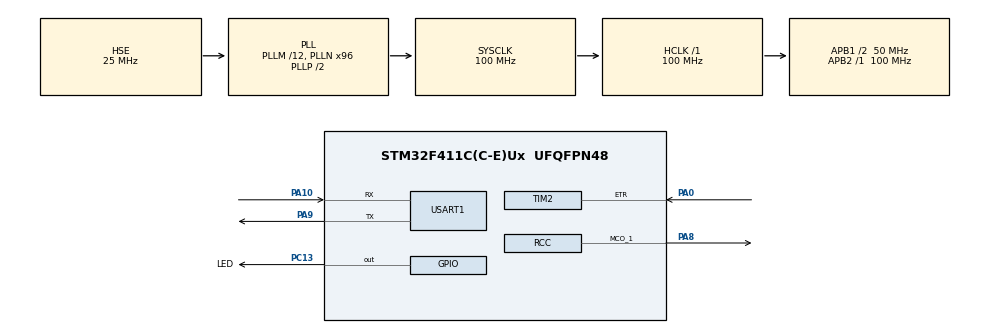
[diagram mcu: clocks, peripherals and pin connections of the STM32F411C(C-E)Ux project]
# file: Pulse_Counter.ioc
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Dma.Request0=USART1_TX
Dma.USART1_TX.0.Direction=DMA_MEMORY_TO_PERIPH
Dma.USART1_TX.0.FIFOMode=DMA_FIFOMODE_DISABLE
Dma.USART1_TX.0.Instance=DMA2_Stream7
Dma.USART1_TX.0.MemDataAlignment=DMA_MDATAALIGN_BYTE
Dma.USART1_TX.0.MemInc=DMA_MINC_ENABLE
Dma.USART1_TX.0.Mode=DMA_NORMAL
Dma.USART1_TX.0.PeriphDataAlignment=DMA_PDATAALIGN_BYTE
Dma.USART1_TX.0.PeriphInc=DMA_PINC_DISABLE
Dma.USART1_TX.0.Priority=DMA_PRIORITY_LOW
FREERTOS.Tasks01=defaultTask,24,128,StartDefaultTask,Default,NULL,Dynamic,NULL,NULL;CommonTask,25,128,entryCommonTask,Default,NULL,Dynamic,NULL,NULL
FREERTOS.configUSE_NEWLIB_REENTRANT=1
Mcu.Family=STM32F4
Mcu.Name=STM32F411C(C-E)Ux
Mcu.Package=UFQFPN48
NVIC.DMA2_Stream7_IRQn=true\:5\:0\:false\:false\:true\:true\:false\:true\:true
NVIC.PriorityGroup=NVIC_PRIORITYGROUP_4
NVIC.TIM1_UP_TIM10_IRQn=true\:15\:0\:true\:false\:true\:false\:false\:true\:true
NVIC.TIM2_IRQn=true\:5\:0\:false\:false\:true\:true\:true\:true\:true
NVIC.TimeBase=TIM1_UP_TIM10_IRQn
NVIC.TimeBaseIP=TIM10
NVIC.USART1_IRQn=true\:7\:0\:true\:false\:true\:true\:true\:true\:true
PA0-WKUP.Signal=S_TIM2_CH1_ETR
PA10.Mode=Asynchronous
PA10.Signal=USART1_RX
PA13.Mode=Serial_Wire
PA13.Signal=SYS_JTMS-SWDIO
PA14.Mode=Serial_Wire
PA14.Signal=SYS_JTCK-SWCLK
PA8.Mode=Clock-out-1
PA8.Signal=RCC_MCO_1
PA9.Mode=Asynchronous
PA9.Signal=USART1_TX
PC13-ANTI_TAMP.GPIO_Label=LED
PC13-ANTI_TAMP.GPIO_PuPd=GPIO_PULLDOWN
PC13-ANTI_TAMP.Signal=GPIO_Output
PH0\ -\ OSC_IN.Mode=HSE-External-Oscillator
PH0\ -\ OSC_IN.Signal=RCC_OSC_IN
PH1\ -\ OSC_OUT.Mode=HSE-External-Oscillator
PH1\ -\ OSC_OUT.Signal=RCC_OSC_OUT
ProjectManager.HeapSize=0x200
ProjectManager.StackSize=0x400
ProjectManager.TargetToolchain=STM32CubeIDE
RCC.48MHZClocksFreq_Value=50000000
RCC.AHBFreq_Value=100000000
RCC.APB1CLKDivider=RCC_HCLK_DIV2
RCC.APB1Freq_Value=50000000
RCC.APB1TimFreq_Value=100000000
RCC.APB2Freq_Value=100000000
RCC.APB2TimFreq_Value=100000000
RCC.CortexFreq_Value=100000000
RCC.HCLKFreq_Value=100000000
RCC.HSE_VALUE=25000000
RCC.HSI_VALUE=16000000
RCC.LSE_VALUE=32768
RCC.PLLM=12
RCC.PLLN=96
RCC.PLLSourceVirtual=RCC_PLLSOURCE_HSE
RCC.SYSCLKFreq_VALUE=100000000
RCC.SYSCLKSource=RCC_SYSCLKSOURCE_PLLCLK
RCC.VCOOutputFreq_Value=200000000
SH.S_TIM2_CH1_ETR.0=TIM2_ETR,ClockSourceETR_Mode2
TIM2.Period=4294967295
TIM2.TIM_MasterOutputTrigger=TIM_TRGO_RESET
USART1.VirtualMode=VM_ASYNC
VP_FREERTOS_VS_CMSIS_V2.Mode=CMSIS_V2
VP_SYS_VS_tim10.Mode=TIM10
board=custom

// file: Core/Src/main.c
/* USER CODE BEGIN Header */
/**
  ******************************************************************************
  * @file           : main.c
  * @brief          : Main program body
  ******************************************************************************
  * @attention
  *
  * Copyright (c) 2026 STMicroelectronics.
  * All rights reserved.
  *
  * This software is licensed under terms that can be found in the LICENSE file
  * in the root directory of this software component.
  * If no LICENSE file comes with this software, it is provided AS-IS.
  *
  ******************************************************************************
  */
/* USER CODE END Header */
#include "main.h"
#include "cmsis_os.h"
#include "dma.h"
#include "tim.h"
#include "usart.h"
#include "gpio.h"

void SystemClock_Config(void);
void MX_FREERTOS_Init(void);

int main(void)
{

  /* MCU Configuration--------------------------------------------------------*/

  /* Reset of all peripherals, Initializes the Flash interface and the Systick. */
  HAL_Init();

  /* Configure the system clock */
  SystemClock_Config();

  /* Initialize all configured peripherals */
  MX_GPIO_Init();
  MX_DMA_Init();
  MX_USART1_UART_Init();
  MX_TIM2_Init();
  /* USER CODE BEGIN 2 */

  HAL_TIM_Base_Start_IT(&htim2);

  /* USER CODE END 2 */

  /* Init scheduler */
  osKernelInitialize();  /* Call init function for freertos objects (in cmsis_os2.c) */
  MX_FREERTOS_Init();

  /* Start scheduler */
  osKernelStart();

  /* We should never get here as control is now taken by the scheduler */

  /* Infinite loop */
  while (1)
  {

  }
}

void SystemClock_Config(void)
{
  RCC_OscInitTypeDef RCC_OscInitStruct = {0};
  RCC_ClkInitTypeDef RCC_ClkInitStruct = {0};

  /** Configure the main internal regulator output voltage
  */
  __HAL_RCC_PWR_CLK_ENABLE();
  __HAL_PWR_VOLTAGESCALING_CONFIG(PWR_REGULATOR_VOLTAGE_SCALE1);

  /** Initializes the RCC Oscillators according to the specified parameters
  * in the RCC_OscInitTypeDef structure.
  */
  RCC_OscInitStruct.OscillatorType = RCC_OSCILLATORTYPE_HSI|RCC_OSCILLATORTYPE_HSE;
  RCC_OscInitStruct.HSEState = RCC_HSE_ON;
  RCC_OscInitStruct.HSIState = RCC_HSI_ON;
  RCC_OscInitStruct.HSICalibrationValue = RCC_HSICALIBRATION_DEFAULT;
  RCC_OscInitStruct.PLL.PLLState = RCC_PLL_ON;
  RCC_OscInitStruct.PLL.PLLSource = RCC_PLLSOURCE_HSE;
  RCC_OscInitStruct.PLL.PLLM = 12;
  RCC_OscInitStruct.PLL.PLLN = 96;
  RCC_OscInitStruct.PLL.PLLP = RCC_PLLP_DIV2;
  RCC_OscInitStruct.PLL.PLLQ = 4;
  if (HAL_RCC_OscConfig(&RCC_OscInitStruct) != HAL_OK)
  {
    Error_Handler();
  }

  /** Initializes the CPU, AHB and APB buses clocks
  */
  RCC_ClkInitStruct.ClockType = RCC_CLOCKTYPE_HCLK|RCC_CLOCKTYPE_SYSCLK
                              |RCC_CLOCKTYPE_PCLK1|RCC_CLOCKTYPE_PCLK2;
  RCC_ClkInitStruct.SYSCLKSource = RCC_SYSCLKSOURCE_PLLCLK;
  RCC_ClkInitStruct.AHBCLKDivider = RCC_SYSCLK_DIV1;
  RCC_ClkInitStruct.APB1CLKDivider = RCC_HCLK_DIV2;
  RCC_ClkInitStruct.APB2CLKDivider = RCC_HCLK_DIV1;

  if (HAL_RCC_ClockConfig(&RCC_ClkInitStruct, FLASH_LATENCY_3) != HAL_OK)
  {
    Error_Handler();
  }
  HAL_RCC_MCOConfig(RCC_MCO1, RCC_MCO1SOURCE_HSI, RCC_MCODIV_1);
}

void HAL_TIM_PeriodElapsedCallback(TIM_HandleTypeDef *htim)
{
  if (htim->Instance == TIM10)
  {
    HAL_IncTick();
  }
  /* USER CODE BEGIN Callback 1 */

	extern uint32_t Counter_Overflow;

	if (htim->Instance == TIM2)
	{
		Counter_Overflow++;
	}

  /* USER CODE END Callback 1 */
}

void Error_Handler(void)
{
  __disable_irq();
  while (1)
  {
  }
}

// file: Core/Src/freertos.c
/* USER CODE BEGIN Header */
/**
  ******************************************************************************
  * File Name          : freertos.c
  * Description        : Code for freertos applications
  ******************************************************************************
  * @attention
  *
  * Copyright (c) 2026 STMicroelectronics.
  * All rights reserved.
  *
  * This software is licensed under terms that can be found in the LICENSE file
  * in the root directory of this software component.
  * If no LICENSE file comes with this software, it is provided AS-IS.
  *
  ******************************************************************************
  */
/* USER CODE END Header */

#include "FreeRTOS.h"
#include "task.h"
#include "main.h"
#include "cmsis_os.h"

/* USER CODE BEGIN Includes */

#include "tim.h"
#include "usart.h"
#include "stdio.h"
#include "inttypes.h"

/* USER CODE END Includes */

/* USER CODE BEGIN PD */

#define LED_PERIOD 100U
#define USART_TX_PERIOD 1000U
#define TX_BUFFER_SIZE 21U

/* USER CODE END PD */

/* USER CODE BEGIN Variables */

char USART_Tx_Buffer[TX_BUFFER_SIZE] = {0};
uint32_t Counter = 0;
uint32_t Counter_Overflow = 0;

/* USER CODE END Variables */
/* Definitions for defaultTask */
osThreadId_t defaultTaskHandle;
const osThreadAttr_t defaultTask_attributes = {
  .name = "defaultTask",
  .stack_size = 128 * 4,
  .priority = (osPriority_t) osPriorityNormal,
};
/* Definitions for CommonTask */
osThreadId_t CommonTaskHandle;
const osThreadAttr_t CommonTask_attributes = {
  .name = "CommonTask",
  .stack_size = 128 * 4,
  .priority = (osPriority_t) osPriorityNormal1,
};

void StartDefaultTask(void *argument);
void entryCommonTask(void *argument);

void MX_FREERTOS_Init(void); /* (MISRA C 2004 rule 8.1) */

void MX_FREERTOS_Init(void) {

  /* Create the thread(s) */
  /* creation of defaultTask */
  defaultTaskHandle = osThreadNew(StartDefaultTask, NULL, &defaultTask_attributes);

  /* creation of CommonTask */
  CommonTaskHandle = osThreadNew(entryCommonTask, NULL, &CommonTask_attributes);

}

void StartDefaultTask(void *argument)
{
  /* USER CODE BEGIN StartDefaultTask */

  static uint32_t local_counter = 0;

  /* Infinite loop */
  for(;;)
  {

	if (local_counter++ >= LED_PERIOD)
	{
		local_counter = 0;
		HAL_GPIO_TogglePin(LED_GPIO_Port, LED_Pin);
	}

    osDelay(1);
  }
  /* USER CODE END StartDefaultTask */
}

void entryCommonTask(void *argument)
{
  /* USER CODE BEGIN entryCommonTask */
  /* Infinite loop */
  for(;;)
  {
	Counter = __HAL_TIM_GET_COUNTER(&htim2);
	int len = snprintf(USART_Tx_Buffer, sizeof(USART_Tx_Buffer), "Counter = %" PRIu32, Counter);
	HAL_UART_Transmit_DMA(&huart1, (uint8_t*)USART_Tx_Buffer, len);
    osDelay(1000);
  }
  /* USER CODE END entryCommonTask */
}
